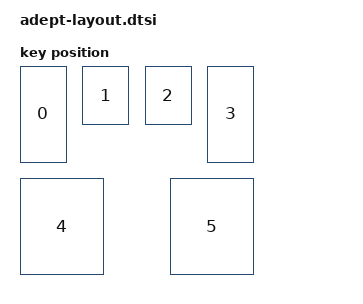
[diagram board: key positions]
#include <physical_layouts.dtsi>

/ {
    adept_layout: adept_layout {
        compatible = "zmk,physical-layout";
        display-name = "Default";

        keys  //                     w   h    x    y     rot    rx    ry
            = <&key_physical_attrs 100 200    0    0       0     0     0>
            , <&key_physical_attrs 100 125  125    0       0     0     0>
            , <&key_physical_attrs 100 125  250    0       0     0     0>
            , <&key_physical_attrs 100 200  375    0       0     0     0>
            , <&key_physical_attrs 175 200    0  225       0     0     0>
            , <&key_physical_attrs 175 200  300  225       0     0     0>
            ;
    };
};
